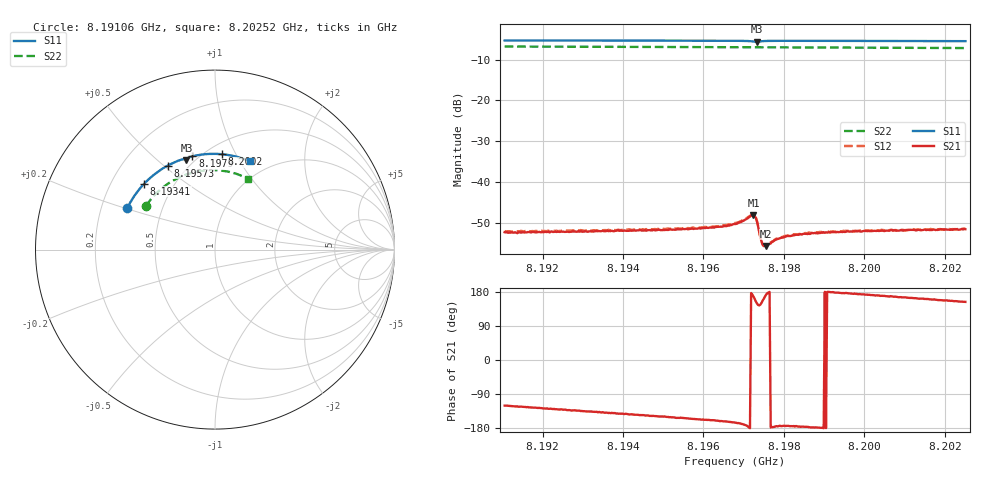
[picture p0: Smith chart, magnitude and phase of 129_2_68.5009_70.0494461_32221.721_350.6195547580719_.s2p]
#  HZ  S  RI  R  50.00
! Rohde & Schwarz Vector Network Analyzer
! Rohde-Schwarz,ZNB20-2Port,1311601062101988,3.16
! Created: UTC 3/20/2024, 5:09:32 PM
! freq[Hz]  re:S11  im:S11  re:S21  im:S21  re:S12  im:S12  re:S22  im:S22
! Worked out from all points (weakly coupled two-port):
!   401 points, 8.19106 GHz to 8.20252 GHz, reference 50 ohm
!   highest |S21| = -47.96 dB at 8.19725 GHz (marker M1); lowest = -55.5 dB at 8.19756 GHz (marker M2)
!   lowest |S11| = -5.7 dB at 8.19733 GHz (marker M3), VSWR 3.18, Z = 22.9 + j31.3 ohm
!   |S11| at or under -10 dB: nowhere
!   |S22| runs from -7.2 to -6.8 dB; largest |S21 - S12| = 0.00022
!   S11 on the Smith chart (normalised r, x): 8.19106 GHz: 0.31, +0.21; 8.19341 GHz: 0.34, +0.35; 8.19573 GHz: 0.39, +0.51; 8.1979 GHz: 0.46, +0.68; 8.2002 GHz: 0.59, +0.88; 8.20252 GHz: 0.81, +1.11
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8.191057e9  -0.4876 0.2329  -0.00124 -0.00213  -0.00134 -0.00217  -0.385 0.243
8.192977e9  -0.4139 0.3457  -0.00176 -0.00179  -0.00188 -0.00176  -0.3158 0.3243
8.193406e9  -0.3938 0.3681  -0.00186 -0.00173  -0.00196 -0.00169  -0.2979 0.3402
8.194896e9  -0.3142 0.4365  -0.00228 -0.00136  -0.00235 -0.00131  -0.229 0.3874
8.195727e9  -0.2645 0.4675  -0.00247 -0.00114  -0.0026 -0.00104  -0.1874 0.4077
8.196328e9  -0.2258 0.4866  -0.00269 -0.000971  -0.00278 -0.000867  -0.1556 0.4198
8.196787e9  -0.1944 0.4988  -0.00299 -0.000783  -0.00312 -0.00068  -0.131 0.4273
8.196987e9  -0.1793 0.503  -0.00332 -0.000614  -0.00341 -0.00049  -0.12 0.4301
8.197188e9  -0.1625 0.5031  -0.00392 0.000223  -0.00396 0.00036  -0.109 0.4326
8.197245e9  -0.1586 0.5005  -0.0039 0.000862  -0.00391 0.00101  -0.1058 0.4332
8.197302e9  -0.158 0.4974  -0.00334 0.00156  -0.00336 0.00174  -0.1026 0.4339
8.197331e9  -0.1589 0.497  -0.00289 0.0017  -0.00285 0.00188  -0.1012 0.4343
8.197446e9  -0.159 0.504  -0.00166 0.000931  -0.0016 0.000993  -0.0951 0.4355
8.197503e9  -0.1554 0.5078  -0.0016 0.000532  -0.00157 0.000556  -0.0918 0.436
8.19756e9  -0.1514 0.5106  -0.00166 0.000219  -0.0017 0.00029  -0.0887 0.4367
8.197761e9  -0.1361 0.5169  -0.00194 -0.000115  -0.00198 -5.18e-05  -0.0774 0.4386
8.197904e9  -0.1255 0.5199  -0.00206 -0.000235  -0.00216 -0.000139  -0.0694 0.4396
8.198219e9  -0.1029 0.5248  -0.00225 -0.000204  -0.00226 -0.00011  -0.0515 0.4415
8.198706e9  -0.0683 0.5301  -0.00241 -9.12e-05  -0.00241 -1.4e-05  -0.0241 0.443
8.200196e9  0.0373 0.5315  -0.00251 0.000375  -0.00255 0.000528  0.0605 0.4367
8.200626e9  0.0676 0.528  -0.00251 0.000563  -0.00254 0.000625  0.0843 0.4318
8.202516e9  0.1961 0.4922  -0.00239 0.0012  -0.00236 0.00132  0.1859 0.3948
